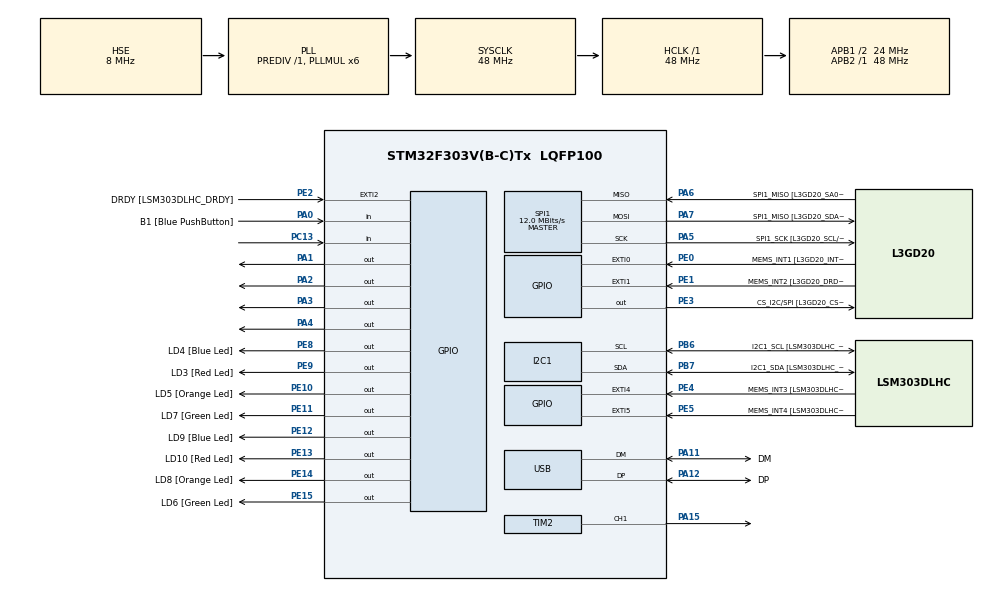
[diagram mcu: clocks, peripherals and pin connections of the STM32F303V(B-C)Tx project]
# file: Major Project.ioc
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I2C1.Timing-I2C=0x2000090E
Mcu.Family=STM32F3
Mcu.Name=STM32F303V(B-C)Tx
Mcu.Package=LQFP100
NVIC.PriorityGroup=NVIC_PRIORITYGROUP_0
PA0.GPIO_Label=B1 [Blue PushButton]
PA0.Signal=GPIO_Input
PA1.Signal=GPIO_Output
PA11.GPIO_Label=DM
PA11.Mode=Device
PA11.Signal=USB_DM
PA12.GPIO_Label=DP
PA12.Mode=Device
PA12.Signal=USB_DP
PA13.GPIO_Label=SWDIO
PA13.Mode=Serial_Wire
PA13.Signal=SYS_JTMS-SWDIO
PA14.GPIO_Label=SWCLK
PA14.Mode=Serial_Wire
PA14.Signal=SYS_JTCK-SWCLK
PA15.Signal=S_TIM2_CH1_ETR
PA2.Signal=GPIO_Output
PA3.Signal=GPIO_Output
PA4.Signal=GPIO_Output
PA5.GPIO_Label=SPI1_SCK [L3GD20_SCL/SPC]
PA5.Mode=Full_Duplex_Master
PA5.Signal=SPI1_SCK
PA6.GPIO_Label=SPI1_MISO [L3GD20_SA0/SDO]
PA6.Mode=Full_Duplex_Master
PA6.Signal=SPI1_MISO
PA7.GPIO_Label=SPI1_MISO [L3GD20_SDA/SDI/SDO]
PA7.Mode=Full_Duplex_Master
PA7.Signal=SPI1_MOSI
PB3.GPIO_Label=SWO
PB3.Signal=SYS_JTDO-TRACESWO
PB6.GPIO_Label=I2C1_SCL [LSM303DLHC_SCL]
PB6.GPIO_Pu=GPIO_PULLUP
PB6.Mode=I2C
PB6.Signal=I2C1_SCL
PB7.GPIO_Label=I2C1_SDA [LSM303DLHC_SDA]
PB7.GPIO_Pu=GPIO_PULLUP
PB7.Mode=I2C
PB7.Signal=I2C1_SDA
PC10.Signal=USART3_TX
PC13.Signal=GPIO_Input
PC14-OSC32_IN.GPIO_Label=OSC32_IN
PC14-OSC32_IN.Signal=RCC_OSC32_IN
PC15-OSC32_OUT.GPIO_Label=OSC32_OUT
PC15-OSC32_OUT.Signal=RCC_OSC32_OUT
PE0.GPIO_Label=MEMS_INT1 [L3GD20_INT1]
PE0.GPIO_ModeDefaultEXTI=GPIO_MODE_EVT_RISING
PE0.Signal=GPXTI0
PE1.GPIO_Label=MEMS_INT2 [L3GD20_DRDY/INT2]
PE1.GPIO_ModeDefaultEXTI=GPIO_MODE_EVT_RISING
PE1.Signal=GPXTI1
PE10.GPIO_Label=LD5 [Orange Led]
PE10.Signal=GPIO_Output
PE11.GPIO_Label=LD7 [Green Led]
PE11.Signal=GPIO_Output
PE12.GPIO_Label=LD9 [Blue Led]
PE12.Signal=GPIO_Output
PE13.GPIO_Label=LD10 [Red Led]
PE13.Signal=GPIO_Output
PE14.GPIO_Label=LD8 [Orange Led]
PE14.Signal=GPIO_Output
PE15.GPIO_Label=LD6 [Green Led]
PE15.Signal=GPIO_Output
PE2.GPIO_Label=DRDY [LSM303DLHC_DRDY]
PE2.GPIO_ModeDefaultEXTI=GPIO_MODE_EVT_RISING
PE2.Signal=GPXTI2
PE3.GPIO_Label=CS_I2C/SPI [L3GD20_CS_I2C/SPI]
PE3.Signal=GPIO_Output
PE4.GPIO_Label=MEMS_INT3 [LSM303DLHC_INT1]
PE4.GPIO_ModeDefaultEXTI=GPIO_MODE_EVT_RISING
PE4.Signal=GPXTI4
PE5.GPIO_Label=MEMS_INT4 [LSM303DLHC_INT2]
PE5.GPIO_ModeDefaultEXTI=GPIO_MODE_EVT_RISING
PE5.Signal=GPXTI5
PE8.GPIO_Label=LD4 [Blue Led]
PE8.Signal=GPIO_Output
PE9.GPIO_Label=LD3 [Red Led]
PE9.Signal=GPIO_Output
PF0-OSC_IN.GPIO_Label=OSC_IN
PF0-OSC_IN.Mode=HSE-External-Clock-Source
PF0-OSC_IN.Signal=RCC_OSC_IN
PF1-OSC_OUT.GPIO_Label=OSC_OUT
PF1-OSC_OUT.Signal=RCC_OSC_OUT
ProjectManager.HeapSize=0x200
ProjectManager.StackSize=0x400
ProjectManager.TargetToolchain=STM32CubeIDE
RCC.AHBFreq_Value=48000000
RCC.APB1CLKDivider=RCC_HCLK_DIV2
RCC.APB1Freq_Value=24000000
RCC.APB1TimFreq_Value=48000000
RCC.APB2Freq_Value=48000000
RCC.APB2TimFreq_Value=48000000
RCC.CortexFreq_Value=48000000
RCC.HCLKFreq_Value=48000000
RCC.HSE_VALUE=8000000
RCC.HSI_VALUE=8000000
RCC.LSE_VALUE=32768
RCC.PLLMUL=RCC_PLL_MUL6
RCC.SYSCLKFreq_VALUE=48000000
RCC.SYSCLKSourceVirtual=RCC_SYSCLKSOURCE_PLLCLK
RCC.USBFreq_Value=48000000
SH.S_TIM2_CH1_ETR.0=TIM2_CH1,PWM Generation1 CH1
SPI1.BaudRatePrescaler=SPI_BAUDRATEPRESCALER_4
SPI1.BaudRatePrescaler-Full_Duplex_Master=SPI_BAUDRATEPRESCALER_2
SPI1.CalculateBaudRate=12.0 MBits/s
SPI1.CalculateBaudRate-Full_Duplex_Master=24.0 MBits/s
SPI1.Direction=SPI_DIRECTION_2LINES
SPI1.Mode=SPI_MODE_MASTER
SPI1.Mode-Full_Duplex_Master=SPI_MODE_MASTER
SPI1.VirtualType=VM_MASTER
TIM2.Channel-PWM\ Generation1\ CH1=TIM_CHANNEL_1
TIM2.Period=20000
TIM2.Prescaler=47
TIM2.Pulse-PWM\ Generation1\ CH1=2000
board=STM32F3DISCOVERY

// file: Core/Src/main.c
/* USER CODE BEGIN Header */
/**
  ******************************************************************************
  * @file           : main.c
  * @brief          : Main program body
  ******************************************************************************
  * @attention
  *
  * Copyright (c) 2024 STMicroelectronics.
  * All rights reserved.
  *
  * This software is licensed under terms that can be found in the LICENSE file
  * in the root directory of this software component.
  * If no LICENSE file comes with this software, it is provided AS-IS.
  *
  ******************************************************************************
  */
/* USER CODE END Header */
#include "main.h"

I2C_HandleTypeDef hi2c1;

SPI_HandleTypeDef hspi1;

TIM_HandleTypeDef htim2;

PCD_HandleTypeDef hpcd_USB_FS;

void SystemClock_Config(void);
static void MX_GPIO_Init(void);
static void MX_I2C1_Init(void);
static void MX_SPI1_Init(void);
static void MX_USB_PCD_Init(void);
static void MX_TIM2_Init(void);

/* USER CODE BEGIN 0 */
void set_motor_direction(int forward) {
    if (forward) {
        HAL_GPIO_WritePin(GPIOA, GPIO_PIN_1, GPIO_PIN_SET);
        HAL_GPIO_WritePin(GPIOA, GPIO_PIN_2, GPIO_PIN_RESET);
        HAL_GPIO_WritePin(GPIOA, GPIO_PIN_3, GPIO_PIN_RESET);
        HAL_GPIO_WritePin(GPIOA, GPIO_PIN_4, GPIO_PIN_SET);
    } else {
        HAL_GPIO_WritePin(GPIOA, GPIO_PIN_1, GPIO_PIN_RESET);
        HAL_GPIO_WritePin(GPIOA, GPIO_PIN_2, GPIO_PIN_SET);
        HAL_GPIO_WritePin(GPIOA, GPIO_PIN_3, GPIO_PIN_SET);
        HAL_GPIO_WritePin(GPIOA, GPIO_PIN_4, GPIO_PIN_RESET);
    }
}

void motor_delay(){
	// Add timer
}

/* USER CODE END 0 */

int main(void)
{

  /* MCU Configuration--------------------------------------------------------*/

  /* Reset of all peripherals, Initializes the Flash interface and the Systick. */
  HAL_Init();

  /* Configure the system clock */
  SystemClock_Config();

  /* Initialize all configured peripherals */
  MX_GPIO_Init();
  MX_I2C1_Init();
  MX_SPI1_Init();
  MX_USB_PCD_Init();
  MX_TIM2_Init();
  /* USER CODE BEGIN 2 */

  HAL_TIM_PWM_Start(&htim2, TIM_CHANNEL_1);

  /* USER CODE END 2 */

  /* Infinite loop */
  /* USER CODE BEGIN WHILE */

  /* Infinite loop */
  while (1)
  {
	  set_motor_direction(1);
	  motor_delay();
	  set_motor_direction(0);
	  motor_delay();
    /* USER CODE END WHILE */

      }
}

void SystemClock_Config(void)
{
  RCC_OscInitTypeDef RCC_OscInitStruct = {0};
  RCC_ClkInitTypeDef RCC_ClkInitStruct = {0};
  RCC_PeriphCLKInitTypeDef PeriphClkInit = {0};

  /** Initializes the RCC Oscillators according to the specified parameters
  * in the RCC_OscInitTypeDef structure.
  */
  RCC_OscInitStruct.OscillatorType = RCC_OSCILLATORTYPE_HSI|RCC_OSCILLATORTYPE_HSE;
  RCC_OscInitStruct.HSEState = RCC_HSE_BYPASS;
  RCC_OscInitStruct.HSEPredivValue = RCC_HSE_PREDIV_DIV1;
  RCC_OscInitStruct.HSIState = RCC_HSI_ON;
  RCC_OscInitStruct.HSICalibrationValue = RCC_HSICALIBRATION_DEFAULT;
  RCC_OscInitStruct.PLL.PLLState = RCC_PLL_ON;
  RCC_OscInitStruct.PLL.PLLSource = RCC_PLLSOURCE_HSE;
  RCC_OscInitStruct.PLL.PLLMUL = RCC_PLL_MUL6;
  if (HAL_RCC_OscConfig(&RCC_OscInitStruct) != HAL_OK)
  {
    Error_Handler();
  }

  /** Initializes the CPU, AHB and APB buses clocks
  */
  RCC_ClkInitStruct.ClockType = RCC_CLOCKTYPE_HCLK|RCC_CLOCKTYPE_SYSCLK
                              |RCC_CLOCKTYPE_PCLK1|RCC_CLOCKTYPE_PCLK2;
  RCC_ClkInitStruct.SYSCLKSource = RCC_SYSCLKSOURCE_PLLCLK;
  RCC_ClkInitStruct.AHBCLKDivider = RCC_SYSCLK_DIV1;
  RCC_ClkInitStruct.APB1CLKDivider = RCC_HCLK_DIV2;
  RCC_ClkInitStruct.APB2CLKDivider = RCC_HCLK_DIV1;

  if (HAL_RCC_ClockConfig(&RCC_ClkInitStruct, FLASH_LATENCY_1) != HAL_OK)
  {
    Error_Handler();
  }
  PeriphClkInit.PeriphClockSelection = RCC_PERIPHCLK_USB|RCC_PERIPHCLK_I2C1;
  PeriphClkInit.I2c1ClockSelection = RCC_I2C1CLKSOURCE_HSI;
  PeriphClkInit.USBClockSelection = RCC_USBCLKSOURCE_PLL;
  if (HAL_RCCEx_PeriphCLKConfig(&PeriphClkInit) != HAL_OK)
  {
    Error_Handler();
  }
}

static void MX_I2C1_Init(void)
{

  hi2c1.Instance = I2C1;
  hi2c1.Init.Timing = 0x2000090E;
  hi2c1.Init.OwnAddress1 = 0;
  hi2c1.Init.AddressingMode = I2C_ADDRESSINGMODE_7BIT;
  hi2c1.Init.DualAddressMode = I2C_DUALADDRESS_DISABLE;
  hi2c1.Init.OwnAddress2 = 0;
  hi2c1.Init.OwnAddress2Masks = I2C_OA2_NOMASK;
  hi2c1.Init.GeneralCallMode = I2C_GENERALCALL_DISABLE;
  hi2c1.Init.NoStretchMode = I2C_NOSTRETCH_DISABLE;
  if (HAL_I2C_Init(&hi2c1) != HAL_OK)
  {
    Error_Handler();
  }

  /** Configure Analogue filter
  */
  if (HAL_I2CEx_ConfigAnalogFilter(&hi2c1, I2C_ANALOGFILTER_ENABLE) != HAL_OK)
  {
    Error_Handler();
  }

  /** Configure Digital filter
  */
  if (HAL_I2CEx_ConfigDigitalFilter(&hi2c1, 0) != HAL_OK)
  {
    Error_Handler();
  }

}

static void MX_SPI1_Init(void)
{

  /* SPI1 parameter configuration*/
  hspi1.Instance = SPI1;
  hspi1.Init.Mode = SPI_MODE_MASTER;
  hspi1.Init.Direction = SPI_DIRECTION_2LINES;
  hspi1.Init.DataSize = SPI_DATASIZE_4BIT;
  hspi1.Init.CLKPolarity = SPI_POLARITY_LOW;
  hspi1.Init.CLKPhase = SPI_PHASE_1EDGE;
  hspi1.Init.NSS = SPI_NSS_SOFT;
  hspi1.Init.BaudRatePrescaler = SPI_BAUDRATEPRESCALER_4;
  hspi1.Init.FirstBit = SPI_FIRSTBIT_MSB;
  hspi1.Init.TIMode = SPI_TIMODE_DISABLE;
  hspi1.Init.CRCCalculation = SPI_CRCCALCULATION_DISABLE;
  hspi1.Init.CRCPolynomial = 7;
  hspi1.Init.CRCLength = SPI_CRC_LENGTH_DATASIZE;
  hspi1.Init.NSSPMode = SPI_NSS_PULSE_ENABLE;
  if (HAL_SPI_Init(&hspi1) != HAL_OK)
  {
    Error_Handler();
  }

}

static void MX_TIM2_Init(void)
{

  TIM_MasterConfigTypeDef sMasterConfig = {0};
  TIM_OC_InitTypeDef sConfigOC = {0};

  htim2.Instance = TIM2;
  htim2.Init.Prescaler = 47;
  htim2.Init.CounterMode = TIM_COUNTERMODE_UP;
  htim2.Init.Period = 20000;
  htim2.Init.ClockDivision = TIM_CLOCKDIVISION_DIV1;
  htim2.Init.AutoReloadPreload = TIM_AUTORELOAD_PRELOAD_DISABLE;
  if (HAL_TIM_PWM_Init(&htim2) != HAL_OK)
  {
    Error_Handler();
  }
  sMasterConfig.MasterOutputTrigger = TIM_TRGO_RESET;
  sMasterConfig.MasterSlaveMode = TIM_MASTERSLAVEMODE_DISABLE;
  if (HAL_TIMEx_MasterConfigSynchronization(&htim2, &sMasterConfig) != HAL_OK)
  {
    Error_Handler();
  }
  sConfigOC.OCMode = TIM_OCMODE_PWM1;
  sConfigOC.Pulse = 2000;
  sConfigOC.OCPolarity = TIM_OCPOLARITY_HIGH;
  sConfigOC.OCFastMode = TIM_OCFAST_DISABLE;
  if (HAL_TIM_PWM_ConfigChannel(&htim2, &sConfigOC, TIM_CHANNEL_1) != HAL_OK)
  {
    Error_Handler();
  }
  HAL_TIM_MspPostInit(&htim2);

}

static void MX_USB_PCD_Init(void)
{

  hpcd_USB_FS.Instance = USB;
  hpcd_USB_FS.Init.dev_endpoints = 8;
  hpcd_USB_FS.Init.speed = PCD_SPEED_FULL;
  hpcd_USB_FS.Init.phy_itface = PCD_PHY_EMBEDDED;
  hpcd_USB_FS.Init.low_power_enable = DISABLE;
  hpcd_USB_FS.Init.battery_charging_enable = DISABLE;
  if (HAL_PCD_Init(&hpcd_USB_FS) != HAL_OK)
  {
    Error_Handler();
  }

}

static void MX_GPIO_Init(void)
{
  GPIO_InitTypeDef GPIO_InitStruct = {0};

  /* GPIO Ports Clock Enable */
  __HAL_RCC_GPIOE_CLK_ENABLE();
  __HAL_RCC_GPIOC_CLK_ENABLE();
  __HAL_RCC_GPIOF_CLK_ENABLE();
  __HAL_RCC_GPIOA_CLK_ENABLE();
  __HAL_RCC_GPIOB_CLK_ENABLE();

  /*Configure GPIO pin Output Level */
  HAL_GPIO_WritePin(GPIOE, CS_I2C_SPI_Pin|LD4_Pin|LD3_Pin|LD5_Pin
                          |LD7_Pin|LD9_Pin|LD10_Pin|LD8_Pin
                          |LD6_Pin, GPIO_PIN_RESET);

  /*Configure GPIO pin Output Level */
  HAL_GPIO_WritePin(GPIOA, GPIO_PIN_1|GPIO_PIN_2|GPIO_PIN_3|GPIO_PIN_4, GPIO_PIN_RESET);

  /*Configure GPIO pins : DRDY_Pin MEMS_INT3_Pin MEMS_INT4_Pin MEMS_INT1_Pin
                           MEMS_INT2_Pin */
  GPIO_InitStruct.Pin = DRDY_Pin|MEMS_INT3_Pin|MEMS_INT4_Pin|MEMS_INT1_Pin
                          |MEMS_INT2_Pin;
  GPIO_InitStruct.Mode = GPIO_MODE_EVT_RISING;
  GPIO_InitStruct.Pull = GPIO_NOPULL;
  HAL_GPIO_Init(GPIOE, &GPIO_InitStruct);

  /*Configure GPIO pins : CS_I2C_SPI_Pin LD4_Pin LD3_Pin LD5_Pin
                           LD7_Pin LD9_Pin LD10_Pin LD8_Pin
                           LD6_Pin */
  GPIO_InitStruct.Pin = CS_I2C_SPI_Pin|LD4_Pin|LD3_Pin|LD5_Pin
                          |LD7_Pin|LD9_Pin|LD10_Pin|LD8_Pin
                          |LD6_Pin;
  GPIO_InitStruct.Mode = GPIO_MODE_OUTPUT_PP;
  GPIO_InitStruct.Pull = GPIO_NOPULL;
  GPIO_InitStruct.Speed = GPIO_SPEED_FREQ_LOW;
  HAL_GPIO_Init(GPIOE, &GPIO_InitStruct);

  /*Configure GPIO pin : PC13 */
  GPIO_InitStruct.Pin = GPIO_PIN_13;
  GPIO_InitStruct.Mode = GPIO_MODE_INPUT;
  GPIO_InitStruct.Pull = GPIO_NOPULL;
  HAL_GPIO_Init(GPIOC, &GPIO_InitStruct);

  /*Configure GPIO pin : B1_Pin */
  GPIO_InitStruct.Pin = B1_Pin;
  GPIO_InitStruct.Mode = GPIO_MODE_INPUT;
  GPIO_InitStruct.Pull = GPIO_NOPULL;
  HAL_GPIO_Init(B1_GPIO_Port, &GPIO_InitStruct);

  /*Configure GPIO pins : PA1 PA2 PA3 PA4 */
  GPIO_InitStruct.Pin = GPIO_PIN_1|GPIO_PIN_2|GPIO_PIN_3|GPIO_PIN_4;
  GPIO_InitStruct.Mode = GPIO_MODE_OUTPUT_PP;
  GPIO_InitStruct.Pull = GPIO_NOPULL;
  GPIO_InitStruct.Speed = GPIO_SPEED_FREQ_LOW;
  HAL_GPIO_Init(GPIOA, &GPIO_InitStruct);

  /*Configure GPIO pin : PC10 */
  GPIO_InitStruct.Pin = GPIO_PIN_10;
  GPIO_InitStruct.Mode = GPIO_MODE_AF_PP;
  GPIO_InitStruct.Pull = GPIO_NOPULL;
  GPIO_InitStruct.Speed = GPIO_SPEED_FREQ_HIGH;
  GPIO_InitStruct.Alternate = GPIO_AF7_USART3;
  HAL_GPIO_Init(GPIOC, &GPIO_InitStruct);

}

void Error_Handler(void)
{
  __disable_irq();
  while (1)
  {
  }
}
